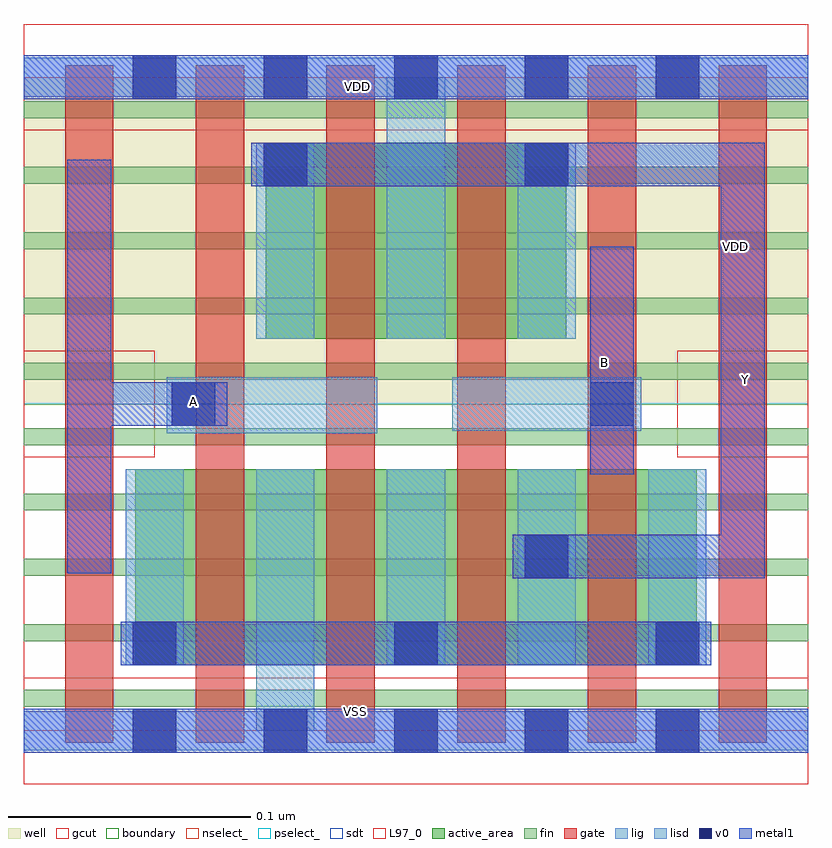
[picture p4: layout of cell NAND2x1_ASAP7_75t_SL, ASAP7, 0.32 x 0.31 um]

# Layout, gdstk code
import gdstk
lib = gdstk.Library(unit=1e-6, precision=2.5e-10)
def R(c, l, rs):  # rectangles x0, y0, x1, y1
    for r in rs: c.add(gdstk.rectangle(r[:2], r[2:], *l))
def A(c, l, x, y, w, h, nx, ny, dx, dy):  # array of equal rectangles
    R(c, l, [(x+i*dx, y+j*dy, x+i*dx+w, y+j*dy+h) for i in range(nx) for j in range(ny)])
def P(c, l, *ps):  # polygons
    for p in ps: c.add(gdstk.Polygon(p, *l))
well = (1, 0)
fin = (2, 0)
gate = (7, 0)
gcut = (10, 0)
active_area = (11, 0)
nselect_ = (12, 0)
pselect_ = (13, 0)
lig = (16, 0)
lisd = (17, 0)
v0 = (18, 0)
metal1 = (19, 0)
sdt = (88, 0)
L97_0 = (97, 0)
boundary = (100, 0)

nand2x1_asap7_75t_sl = lib.new_cell('NAND2x1_ASAP7_75t_SL')
R(nand2x1_asap7_75t_sl, well, [(0,0.135,0.324,0.27)])
A(nand2x1_asap7_75t_sl, fin, 0, 0.01, 0.324, 0.007, 1, 10, 0, 0.027)
A(nand2x1_asap7_75t_sl, gate, 0.017, -0.005, 0.02, 0.28, 6, 1, 0.054, 0)
R(nand2x1_asap7_75t_sl, gcut, [(0,-0.022,0.324,0.022), (0,0.113,0.054,0.157), (0.27,0.113,0.324,0.157), (0,0.248,0.324,0.292)])
R(nand2x1_asap7_75t_sl, active_area, [(0.046,0.027,0.278,0.108), (0.1,0.162,0.224,0.243)])
R(nand2x1_asap7_75t_sl, nselect_, [(0,0,0.324,0.135)])
R(nand2x1_asap7_75t_sl, pselect_, [(0,0.135,0.324,0.27)])
R(nand2x1_asap7_75t_sl, lig, [(0,-0.008,0.324,0.008), (0.059,0.123,0.146,0.146), (0.177,0.124,0.255,0.146), (0,0.262,0.324,0.278)])
A(nand2x1_asap7_75t_sl, lisd, 0.15, 0.027, 0.024, 0.081, 3, 1, 0.054, 0)
R(nand2x1_asap7_75t_sl, lisd, [(0.096,0,0.12,0.108), (0.042,0.027,0.066,0.108), (0.096,0.162,0.12,0.243), (0.15,0.162,0.174,0.27), (0.204,0.162,0.228,0.243)])
A(nand2x1_asap7_75t_sl, v0, 0.045, -0.009, 0.018, 0.018, 5, 2, 0.054, 0.27)
A(nand2x1_asap7_75t_sl, v0, 0.045, 0.027, 0.018, 0.018, 3, 1, 0.108, 0)
R(nand2x1_asap7_75t_sl, v0, [(0.207,0.063,0.225,0.081), (0.061,0.126,0.079,0.144), (0.234,0.126,0.252,0.144), (0.099,0.225,0.117,0.243), (0.207,0.225,0.225,0.243)])
R(nand2x1_asap7_75t_sl, metal1, [(0,-0.009,0.324,0.009), (0.04,0.027,0.284,0.045), (0.234,0.106,0.252,0.2), (0,0.261,0.324,0.279)])
P(nand2x1_asap7_75t_sl, metal1, [(0.084,0.144),(0.036,0.144),(0.036,0.236),(0.018,0.236),(0.018,0.065),(0.036,0.065),(0.036,0.126),(0.084,0.126)],
  [(0.306,0.243),(0.094,0.243),(0.094,0.225),(0.288,0.225),(0.288,0.081),(0.202,0.081),(0.202,0.063),(0.306,0.063)])
A(nand2x1_asap7_75t_sl, sdt, 0.042, 0.027, 0.024, 0.081, 5, 1, 0.054, 0)
A(nand2x1_asap7_75t_sl, sdt, 0.096, 0.162, 0.024, 0.081, 3, 1, 0.054, 0)
R(nand2x1_asap7_75t_sl, L97_0, [(0,0,0.324,0.27)])
R(nand2x1_asap7_75t_sl, boundary, [(0,0,0.324,0.27)])
nand2x1_asap7_75t_sl.add(gdstk.Label('VSS', (0.137,0.008), layer=19, texttype=251))
nand2x1_asap7_75t_sl.add(gdstk.Label('VDD', (0.138,0.266), layer=19, texttype=251))
nand2x1_asap7_75t_sl.add(gdstk.Label('Y', (0.298,0.145), layer=19, texttype=251))
nand2x1_asap7_75t_sl.add(gdstk.Label('B', (0.24,0.152), layer=19, texttype=251))
nand2x1_asap7_75t_sl.add(gdstk.Label('A', (0.07,0.136), layer=19, texttype=251))
nand2x1_asap7_75t_sl.add(gdstk.Label('VDD', (0.294,0.2), layer=1, texttype=251))
nand2x1_asap7_75t_sl.add(gdstk.Label('VSS', (0.363,0.199), layer=3, texttype=251))

lib.write_gds('NAND2x1_ASAP7_75t_SL.gds')
